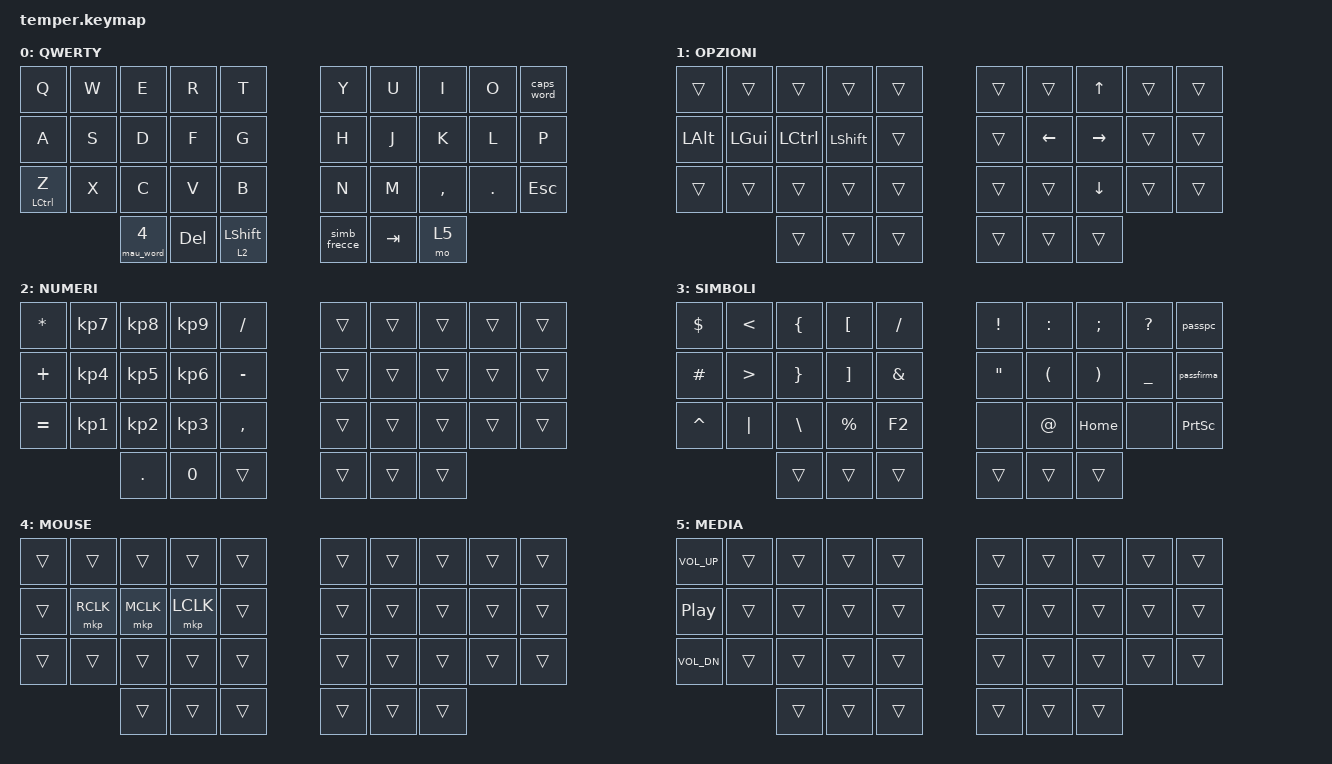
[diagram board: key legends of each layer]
/*
 * Copyright (c) 2021-2022 The ZMK Contributors
 * SPDX-License-Identifier: MIT
 */

#define ZMK_POINTING_DEFAULT_MOVE_VAL 1200
#define ZMK_POINTING_DEFAULT_SCRL_VAL 30
#define MOUSE_TIME_TO_MAX_SPEED 300

#include <dt-bindings/zmk/pointing.h>
#include <dt-bindings/zmk/behaviors.h>
#include <behaviors/num_word.dtsi>
#include <input/processors.dtsi>
#include "keys_it.h"
#include <behaviors.dtsi>
#include <dt-bindings/zmk/bt.h>
#include <dt-bindings/zmk/keys.h>

&num_word { continue-list = <LPAR RPAR EQUAL SLASH MINUS ASTRK PLUS PRCNT COMMA DOT>; };
&caps_word { continue-list = <SPACE BSPC>; };

&mt {
    tapping-term-ms = <150>;
    flavor = "tap-preferred";
};

/ {
    macros {
        passpc: passpc {
            compatible = "zmk,behavior-macro";
            #binding-cells = <0>;
            bindings = <&kp N0 &kp N3 &kp N1 &kp N1>;
        };

        passfirma: passfirma {
            compatible = "zmk,behavior-macro";
            #binding-cells = <0>;
            bindings = <&kp N7 &kp N3 &kp N0 &kp N0 &kp N2 &kp N0 &kp N9 &kp N9>;
        };
    };

    nav_word: nav_word {
        compatible = "zmk,behavior-auto-layer";
        #binding-cells = <1>;
        continue-list = <UP LEFT_ALT LEFT_GUI LEFT_CONTROL LEFT_SHIFT LEFT RIGHT TAB DOWN>;
        ignore-modifiers;
    };

    mau_word: mau_word {
        compatible = "zmk,behavior-auto-layer";
        #binding-cells = <1>;
        continue-list = <LCLK RCLK MCLK>;
        ignore-modifiers;
    };

    behaviors {
        modificatori: modificatori {
            compatible = "zmk,behavior-hold-tap";
            #binding-cells = <2>;
            tapping-term-ms = <150>;
            bindings = <&sk>, <&kp>;
            display-name = "modificatori";
            flavor = "tap-preferred";
        };

        schiftnum: schiftnum {
            compatible = "zmk,behavior-hold-tap";
            #binding-cells = <2>;
            display-name = "SCHIFTNUM";
            bindings = <&mo>, <&sk>;
            tapping-term-ms = <150>;
            flavor = "tap-preferred";
        };

        simb_frecce: simb_frecce {
            compatible = "zmk,behavior-tap-dance";
            label = "SIMB_FRECCE";
            #binding-cells = <0>;
            bindings = <&sl 3>, <&nav_word 1>;
            tapping-term-ms = <250>;
        };
    };

    combos {
        compatible = "zmk,combos";

        combo_backspace {
            timeout-ms = <50>;
            key-positions = <16 17>;
            bindings = <&kp BSPC>;
        };

        combo_space {
            timeout-ms = <60>;
            key-positions = <12 13>;
            bindings = <&kp SPACE>;
        };

        combo_enter {
            timeout-ms = <50>;
            key-positions = <22 23>;
            bindings = <&kp ENTER>;
        };

        apostrofo {
            bindings = <&kp APOS>;
            key-positions = <16 17 18>;
        };

        numeri {
            bindings = <&num_word 2>;
            key-positions = <17 27>;
        };

        entersx {
            bindings = <&kp ENTER>;
            key-positions = <27 26>;
            timeout-ms = <50>;
        };
    };

    keymap {
        compatible = "zmk,keymap";

        Base {
            display-name = "QWERTY";
            bindings = <
&kp Q                  &kp W  &kp E  &kp R           &kp T                                               &kp Y        &kp U  &kp I      &kp O       &caps_word
&kp A                  &kp S  &kp D  &kp F           &kp G                                               &kp H        &kp J  &kp K      &kp L       &kp P  
&modificatori LCTRL Z  &kp X  &kp C  &kp V           &kp B                                               &kp N        &kp M  &kp COMMA  &kp DOT     &kp ESC  
                                     &mau_word 4     &kp DEL  &schiftnum 2 LEFT_SHIFT      &simb_frecce  &kp TAB      &mo 5  
            >;
        };

        FRECCE {
            display-name = "OPZIONI";
            bindings = <
&trans        &trans        &trans            &trans          &trans                       &trans  &trans          &kp UP     &trans  &trans
&kp LEFT_ALT  &kp LEFT_GUI  &kp LEFT_CONTROL  &kp LEFT_SHIFT  &trans                       &trans  &kp LEFT_ARROW  &kp RIGHT  &trans  &trans
&trans        &trans        &trans            &trans          &trans                       &trans  &trans          &kp DOWN   &trans  &trans   
                                              &trans          &trans  &trans       &trans  &trans  &trans
            >;
        };

        NUMBER {
            display-name = "NUMERI";
            bindings = <
&kp ASTRK  &kp KP_N7  &kp KP_N8  &kp KP_N9  &kp SLASH                       &trans  &trans  &trans  &trans  &trans  
&kp PLUS   &kp KP_N4  &kp KP_N5  &kp KP_N6  &kp MINUS                       &trans  &trans  &trans  &trans  &trans  
&kp EQUAL  &kp KP_N1  &kp KP_N2  &kp KP_N3  &kp COMMA                       &trans  &trans  &trans  &trans  &trans  
                                 &kp DOT    &kp N0      &trans      &trans  &trans  &trans
            >;
        };

        SIMBOLI {
            display-name = "SIMBOLI";
            bindings = <
&kp DOLLAR  &kp LESS_THAN     &kp LEFT_BRACE   &kp LBKT           &kp SLASH                          &kp EXCL  &kp COLON  &kp SEMI  &kp QUESTION  &passpc
&kp HASH    &kp GREATER_THAN  &kp RIGHT_BRACE  &kp RIGHT_BRACKET  &kp AMPS                           &kp DQT   &kp LPAR   &kp RPAR  &kp UNDER     &passfirma  
&kp CARET   &kp PIPE          &kp BSLH         &kp PERCENT        &kp F2                             &none     &kp AT     &kp HOME  &none         &kp PRINTSCREEN
                                               &trans             &trans    &trans           &trans  &trans    &trans
            >;
        };

        MOUSE {
            display-name = "MOUSE";
            bindings = <
&trans          &trans     &trans     &trans        &trans                                       &trans  &trans  &trans  &trans  &trans 
&trans          &mkp RCLK  &mkp MCLK  &mkp LCLK     &trans                                       &trans  &trans  &trans  &trans  &trans  
&trans          &trans     &trans     &trans        &trans                                       &trans  &trans  &trans  &trans  &trans  
                                      &trans        &trans         &trans                &trans  &trans  &trans
            >;
        };

        MEDIA {
            display-name = "MEDIA";
            bindings = <
&kp C_VOL_UP      &trans  &trans  &trans  &trans                       &trans  &trans  &trans  &trans  &trans  
&kp C_PLAY_PAUSE  &trans  &trans  &trans  &trans                       &trans  &trans  &trans  &trans  &trans  
&kp K_VOL_DN      &trans  &trans  &trans  &trans                       &trans  &trans  &trans  &trans  &trans  
                                  &trans  &trans  &trans       &trans  &trans  &trans  
            >;
        };
    };
};
